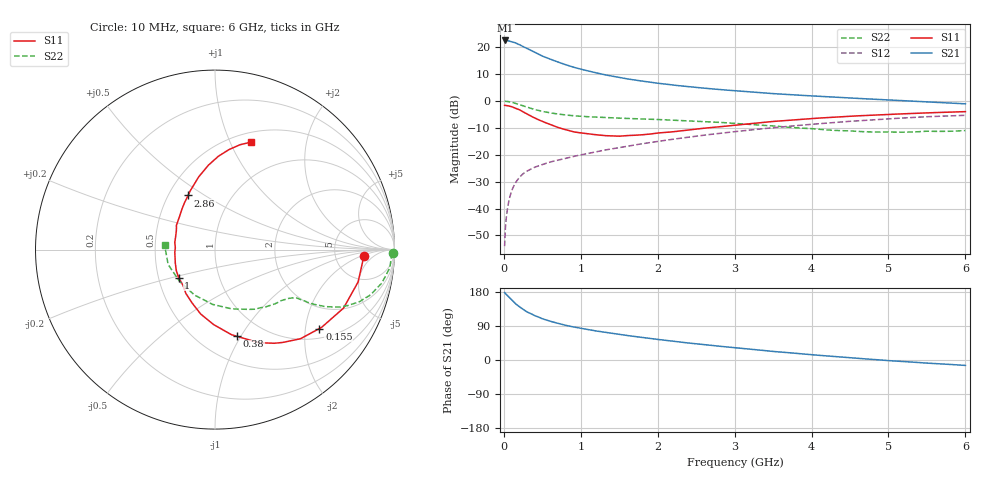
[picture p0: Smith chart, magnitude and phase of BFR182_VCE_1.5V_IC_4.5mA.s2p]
! Infineon Technologies  Discrete & RF Semiconductors
! BFR182
! VCE =  1.5 V,  IC =  4.5 mA
! Common Emitter S-Parameters:  Nov 2015
# GHz  S  MA  R  50
!  f  S11  S21  S12  S22
! GHz  MAG  ANG  MAG  ANG  MAG  ANG  MAG  ANG
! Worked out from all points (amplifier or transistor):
!   210 points, 10 MHz to 6 GHz, reference 50 ohm
!   highest |S21| = 22.5 dB at 20 MHz (marker M1)
!   |S21| within 3 dB of that: start of sweep to 303.7 MHz
!   unconditionally stable (mu >= 1): 1.094 GHz to 2.9 GHz
!   at 185 MHz: K = 0.31, MSG = 25.1 dB, |S12| = -29.0 dB
!   at 1.52 GHz: K = 1.07, MAG = 11.3 dB, |S12| = -17.2 dB
!   at 6 GHz: K = 0.90, MSG = 2.1 dB, |S12| = -5.3 dB
!   S11 on the Smith chart (normalised r, x): 10 MHz: 10, -2; 155 MHz: 1.27, -2.39; 380 MHz: 0.75, -0.96; 1 GHz: 0.64, -0.21; 2.86 GHz: 0.63, +0.43; 6 GHz: 0.60, +1.21
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0.01  0.8297 -2.6  13.22 178.0  0.002 91.5  0.9909 -1.2
0.02  0.8248 -5.1  13.31 175.5  0.0043 89.4  0.9837 -2.4
0.05  0.8173 -12.8  13.24 169.3  0.0106 84.0  0.979 -6.0
0.1  0.7867 -24.5  12.64 159.3  0.0211 77.0  0.9483 -11.3
0.155  0.7293 -37.1  11.94 148.1  0.0308 71.3  0.8989 -16.5
0.2  0.6881 -46.2  11.15 140.9  0.0377 68.0  0.8563 -19.8
0.26  0.618 -57.6  10.08 132.3  0.0454 63.7  0.802 -22.9
0.3  0.5741 -64.7  9.477 126.9  0.0496 62.4  0.7664 -24.7
0.38  0.4986 -75.7  8.313 119.4  0.0567 60.0  0.7074 -26.7
0.5  0.4177 -91.1  6.822 108.9  0.0658 57.9  0.6388 -28.7
0.6  0.3674 -102.6  5.981 102.4  0.073 57.1  0.6011 -29.5
0.7  0.3233 -113.3  5.306 96.6  0.0794 57.8  0.5715 -29.9
0.8  0.293 -123.7  4.726 91.7  0.0861 57.8  0.5489 -30.3
1  0.2555 -142.5  3.892 83.7  0.0994 58.6  0.5187 -31.2
1.02  0.253 -144.2  3.831 83.0  0.1009 58.7  0.5166 -31.4
1.4  0.2245 -176.3  2.895 70.5  0.1281 60.0  0.4856 -34.5
2.02  0.2551 146.8  2.119 53.9  0.1785 59.2  0.4507 -42.1
2.86  0.3371 116.4  1.606 35.2  0.2551 54.7  0.3952 -57.3
3.1  0.3654 110.7  1.509 30.5  0.2782 52.7  0.3739 -62.8
4.1  0.4808 93.1  1.218 12.3  0.3776 42.7  0.2969 -96.4
5.1  0.5695 80.9  1.028 -2.8  0.4739 30.2  0.263 -142.8
6  0.6327 71.3  0.884 -14.3  0.541 17.2  0.2816 175.1
